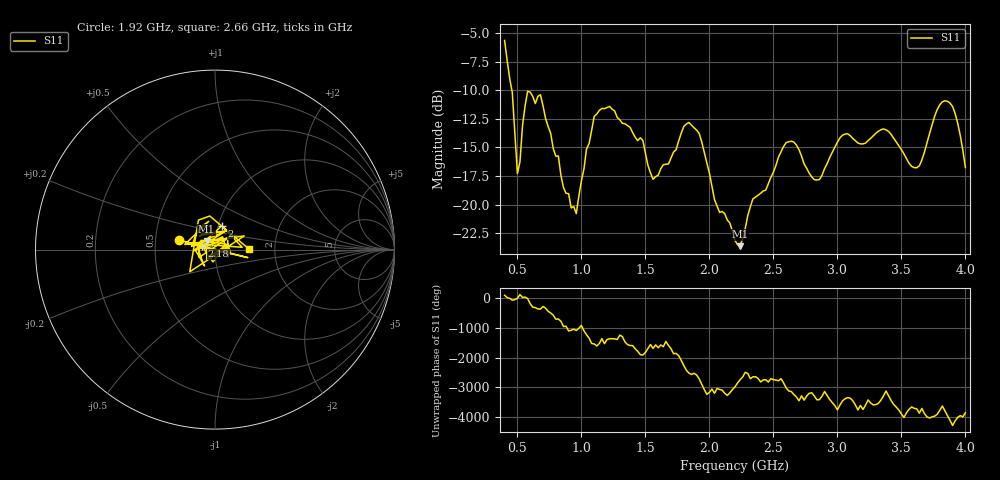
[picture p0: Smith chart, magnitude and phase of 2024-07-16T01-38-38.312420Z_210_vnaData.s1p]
!Created with skrf (http://scikit-rf.org).
# Hz S RI R 50.0
!freq ReS11 ImS11
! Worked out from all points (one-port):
!   181 points, 400 MHz to 4 GHz, reference 50 ohm
!   lowest |S11| = -23.7 dB at 2.24 GHz (marker M1), VSWR 1.14, Z = 45.3 + j4.19 ohm
!   |S11| at or under -10 dB: 457.1 MHz to end of sweep
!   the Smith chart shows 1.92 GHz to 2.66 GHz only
!   S11 on the Smith chart (normalised r, x): 1.92 GHz: 0.67, +0.07; 2 GHz: 1.04, +0.28; 2.18 GHz: 0.86, +0.03; 2.66 GHz: 1.46, +0.01
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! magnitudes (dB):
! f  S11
! 400 MHz  -5.6
! 460 MHz  -10.2
! 500 MHz  -17.3
! 580 MHz  -10.1
! 680 MHz  -10.4
! 860 MHz  -18.5
! 960 MHz  -20.8
! 1.1 GHz  -12.3
! 1.3 GHz  -12.6
! 1.48 GHz  -14.4
! 1.56 GHz  -17.8
! 1.76 GHz  -14.4
! 1.84 GHz  -12.8
! 1.92 GHz  -13.8
! 2 GHz  -17.2
! 2.18 GHz  -22.4
! 2.2 GHz  -23.2
! 2.24 GHz  -23.7
! 2.34 GHz  -19.5
! 2.66 GHz  -14.5
! 2.84 GHz  -17.9
! 3.1 GHz  -14.0
! 3.38 GHz  -13.5
! 3.56 GHz  -16.4
! 3.64 GHz  -16.6
! 3.84 GHz  -10.9
! 3.92 GHz  -12.0
! 4 GHz  -16.8
